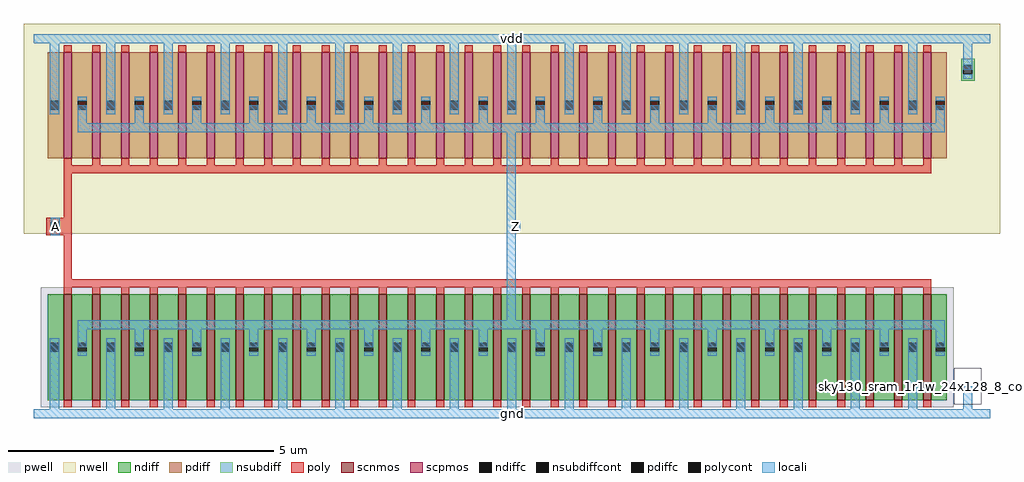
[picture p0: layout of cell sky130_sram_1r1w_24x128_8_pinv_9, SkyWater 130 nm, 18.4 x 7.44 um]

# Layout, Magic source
magic
tech sky130B
magscale 1 2
<< nwell >>
rect -36 679 3644 1471
<< poly >>
rect 114 740 144 907
rect 81 674 144 740
rect 114 507 144 674
<< locali >>
rect 0 1397 3608 1431
rect 62 1130 96 1397
rect 274 1130 308 1397
rect 490 1130 524 1397
rect 706 1130 740 1397
rect 922 1130 956 1397
rect 1138 1130 1172 1397
rect 1354 1130 1388 1397
rect 1570 1130 1604 1397
rect 1786 1130 1820 1397
rect 2002 1130 2036 1397
rect 2218 1130 2252 1397
rect 2434 1130 2468 1397
rect 2650 1130 2684 1397
rect 2866 1130 2900 1397
rect 3082 1130 3116 1397
rect 3298 1130 3332 1397
rect 3506 1297 3540 1397
rect 64 674 98 740
rect 1784 724 1818 1096
rect 1784 690 1835 724
rect 1784 318 1818 690
rect 62 17 96 218
rect 274 17 308 218
rect 490 17 524 218
rect 706 17 740 218
rect 922 17 956 218
rect 1138 17 1172 218
rect 1354 17 1388 218
rect 1570 17 1604 218
rect 1786 17 1820 218
rect 2002 17 2036 218
rect 2218 17 2252 218
rect 2434 17 2468 218
rect 2650 17 2684 218
rect 2866 17 2900 218
rect 3082 17 3116 218
rect 3298 17 3332 218
rect 3506 17 3540 104
rect 0 -17 3608 17
use sky130_sram_1r1w_24x128_8_contact_15  sky130_sram_1r1w_24x128_8_contact_15_0
transform 1 0 48 0 1 674
box 0 0 66 66
use sky130_sram_1r1w_24x128_8_contact_28  sky130_sram_1r1w_24x128_8_contact_28_0
transform 1 0 3498 0 1 1256
box -59 -43 109 125
use sky130_sram_1r1w_24x128_8_contact_29  sky130_sram_1r1w_24x128_8_contact_29_0
transform 1 0 3498 0 1 63
box -26 -26 76 108
use sky130_sram_1r1w_24x128_8_nmos_m31_w2_000_sli_dli_da_p  sky130_sram_1r1w_24x128_8_nmos_m31_w2_000_sli_dli_da_p_0
transform 1 0 54 0 1 51
box -26 -26 3416 456
use sky130_sram_1r1w_24x128_8_pmos_m31_w2_000_sli_dli_da_p  sky130_sram_1r1w_24x128_8_pmos_m31_w2_000_sli_dli_da_p_0
transform 1 0 54 0 1 963
box -59 -56 3449 454
<< labels >>
rlabel locali s 81 707 81 707 4 A
port 1 nsew
rlabel locali s 1818 707 1818 707 4 Z
port 2 nsew
rlabel locali s 1804 0 1804 0 4 gnd
port 3 nsew
rlabel locali s 1804 1414 1804 1414 4 vdd
port 4 nsew
<< properties >>
string FIXED_BBOX 0 0 3608 1414
<< end >>

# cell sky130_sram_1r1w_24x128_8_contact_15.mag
magic
tech sky130B
<< poly >>
rect 0 25 33 33
rect 0 8 8 25
rect 25 8 33 25
rect 0 0 33 8
<< polycont >>
rect 8 8 25 25
<< locali >>
rect 8 25 25 33
rect 8 0 25 8
<< properties >>
string FIXED_BBOX -10 -10 43 43
<< end >>

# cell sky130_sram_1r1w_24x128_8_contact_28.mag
magic
tech sky130B
magscale 1 2
<< nwell >>
rect -59 -43 109 125
<< nsubdiff >>
rect 0 58 50 82
rect 0 24 8 58
rect 42 24 50 58
rect 0 0 50 24
<< nsubdiffcont >>
rect 8 24 42 58
<< locali >>
rect 8 58 42 74
rect 8 8 42 24
<< properties >>
string FIXED_BBOX -59 -43 109 125
<< end >>

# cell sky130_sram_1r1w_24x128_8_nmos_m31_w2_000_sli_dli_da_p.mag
magic
tech sky130B
magscale 1 2
<< pwell >>
rect -26 -26 3416 426
<< scnmos >>
rect 60 0 90 400
rect 168 0 198 400
rect 276 0 306 400
rect 384 0 414 400
rect 492 0 522 400
rect 600 0 630 400
rect 708 0 738 400
rect 816 0 846 400
rect 924 0 954 400
rect 1032 0 1062 400
rect 1140 0 1170 400
rect 1248 0 1278 400
rect 1356 0 1386 400
rect 1464 0 1494 400
rect 1572 0 1602 400
rect 1680 0 1710 400
rect 1788 0 1818 400
rect 1896 0 1926 400
rect 2004 0 2034 400
rect 2112 0 2142 400
rect 2220 0 2250 400
rect 2328 0 2358 400
rect 2436 0 2466 400
rect 2544 0 2574 400
rect 2652 0 2682 400
rect 2760 0 2790 400
rect 2868 0 2898 400
rect 2976 0 3006 400
rect 3084 0 3114 400
rect 3192 0 3222 400
rect 3300 0 3330 400
<< ndiff >>
rect 0 0 60 400
rect 90 0 168 400
rect 198 0 276 400
rect 306 0 384 400
rect 414 0 492 400
rect 522 0 600 400
rect 630 0 708 400
rect 738 0 816 400
rect 846 0 924 400
rect 954 0 1032 400
rect 1062 0 1140 400
rect 1170 0 1248 400
rect 1278 0 1356 400
rect 1386 0 1464 400
rect 1494 0 1572 400
rect 1602 0 1680 400
rect 1710 0 1788 400
rect 1818 0 1896 400
rect 1926 0 2004 400
rect 2034 0 2112 400
rect 2142 0 2220 400
rect 2250 0 2328 400
rect 2358 0 2436 400
rect 2466 0 2544 400
rect 2574 0 2652 400
rect 2682 0 2760 400
rect 2790 0 2868 400
rect 2898 0 2976 400
rect 3006 0 3084 400
rect 3114 0 3192 400
rect 3222 0 3300 400
rect 3330 0 3390 400
<< poly >>
rect 60 426 3330 456
rect 60 400 90 426
rect 168 400 198 426
rect 276 400 306 426
rect 384 400 414 426
rect 492 400 522 426
rect 600 400 630 426
rect 708 400 738 426
rect 816 400 846 426
rect 924 400 954 426
rect 1032 400 1062 426
rect 1140 400 1170 426
rect 1248 400 1278 426
rect 1356 400 1386 426
rect 1464 400 1494 426
rect 1572 400 1602 426
rect 1680 400 1710 426
rect 1788 400 1818 426
rect 1896 400 1926 426
rect 2004 400 2034 426
rect 2112 400 2142 426
rect 2220 400 2250 426
rect 2328 400 2358 426
rect 2436 400 2466 426
rect 2544 400 2574 426
rect 2652 400 2682 426
rect 2760 400 2790 426
rect 2868 400 2898 426
rect 2976 400 3006 426
rect 3084 400 3114 426
rect 3192 400 3222 426
rect 3300 400 3330 426
rect 60 -26 90 0
rect 168 -26 198 0
rect 276 -26 306 0
rect 384 -26 414 0
rect 492 -26 522 0
rect 600 -26 630 0
rect 708 -26 738 0
rect 816 -26 846 0
rect 924 -26 954 0
rect 1032 -26 1062 0
rect 1140 -26 1170 0
rect 1248 -26 1278 0
rect 1356 -26 1386 0
rect 1464 -26 1494 0
rect 1572 -26 1602 0
rect 1680 -26 1710 0
rect 1788 -26 1818 0
rect 1896 -26 1926 0
rect 2004 -26 2034 0
rect 2112 -26 2142 0
rect 2220 -26 2250 0
rect 2328 -26 2358 0
rect 2436 -26 2466 0
rect 2544 -26 2574 0
rect 2652 -26 2682 0
rect 2760 -26 2790 0
rect 2868 -26 2898 0
rect 2976 -26 3006 0
rect 3084 -26 3114 0
rect 3192 -26 3222 0
rect 3300 -26 3330 0
<< locali >>
rect 112 267 3382 301
rect 8 167 42 233
rect 112 200 146 267
rect 220 167 254 233
rect 328 200 362 267
rect 436 167 470 233
rect 544 200 578 267
rect 652 167 686 233
rect 760 200 794 267
rect 868 167 902 233
rect 976 200 1010 267
rect 1084 167 1118 233
rect 1192 200 1226 267
rect 1300 167 1334 233
rect 1408 200 1442 267
rect 1516 167 1550 233
rect 1624 200 1658 267
rect 1732 167 1766 233
rect 1840 200 1874 267
rect 1948 167 1982 233
rect 2056 200 2090 267
rect 2164 167 2198 233
rect 2272 200 2306 267
rect 2380 167 2414 233
rect 2488 200 2522 267
rect 2596 167 2630 233
rect 2704 200 2738 267
rect 2812 167 2846 233
rect 2920 200 2954 267
rect 3028 167 3062 233
rect 3136 200 3170 267
rect 3244 167 3278 233
rect 3348 200 3382 267
use sky130_sram_1r1w_24x128_8_contact_10  sky130_sram_1r1w_24x128_8_contact_10_0
transform 1 0 3340 0 1 167
box -26 -22 76 88
use sky130_sram_1r1w_24x128_8_contact_10  sky130_sram_1r1w_24x128_8_contact_10_1
transform 1 0 3236 0 1 167
box -26 -22 76 88
use sky130_sram_1r1w_24x128_8_contact_10  sky130_sram_1r1w_24x128_8_contact_10_2
transform 1 0 3128 0 1 167
box -26 -22 76 88
use sky130_sram_1r1w_24x128_8_contact_10  sky130_sram_1r1w_24x128_8_contact_10_3
transform 1 0 3020 0 1 167
box -26 -22 76 88
use sky130_sram_1r1w_24x128_8_contact_10  sky130_sram_1r1w_24x128_8_contact_10_4
transform 1 0 2912 0 1 167
box -26 -22 76 88
use sky130_sram_1r1w_24x128_8_contact_10  sky130_sram_1r1w_24x128_8_contact_10_5
transform 1 0 2804 0 1 167
box -26 -22 76 88
use sky130_sram_1r1w_24x128_8_contact_10  sky130_sram_1r1w_24x128_8_contact_10_6
transform 1 0 2696 0 1 167
box -26 -22 76 88
use sky130_sram_1r1w_24x128_8_contact_10  sky130_sram_1r1w_24x128_8_contact_10_7
transform 1 0 2588 0 1 167
box -26 -22 76 88
use sky130_sram_1r1w_24x128_8_contact_10  sky130_sram_1r1w_24x128_8_contact_10_8
transform 1 0 2480 0 1 167
box -26 -22 76 88
use sky130_sram_1r1w_24x128_8_contact_10  sky130_sram_1r1w_24x128_8_contact_10_9
transform 1 0 2372 0 1 167
box -26 -22 76 88
use sky130_sram_1r1w_24x128_8_contact_10  sky130_sram_1r1w_24x128_8_contact_10_10
transform 1 0 2264 0 1 167
box -26 -22 76 88
use sky130_sram_1r1w_24x128_8_contact_10  sky130_sram_1r1w_24x128_8_contact_10_11
transform 1 0 2156 0 1 167
box -26 -22 76 88
use sky130_sram_1r1w_24x128_8_contact_10  sky130_sram_1r1w_24x128_8_contact_10_12
transform 1 0 2048 0 1 167
box -26 -22 76 88
use sky130_sram_1r1w_24x128_8_contact_10  sky130_sram_1r1w_24x128_8_contact_10_13
transform 1 0 1940 0 1 167
box -26 -22 76 88
use sky130_sram_1r1w_24x128_8_contact_10  sky130_sram_1r1w_24x128_8_contact_10_14
transform 1 0 1832 0 1 167
box -26 -22 76 88
use sky130_sram_1r1w_24x128_8_contact_10  sky130_sram_1r1w_24x128_8_contact_10_15
transform 1 0 1724 0 1 167
box -26 -22 76 88
use sky130_sram_1r1w_24x128_8_contact_10  sky130_sram_1r1w_24x128_8_contact_10_16
transform 1 0 1616 0 1 167
box -26 -22 76 88
use sky130_sram_1r1w_24x128_8_contact_10  sky130_sram_1r1w_24x128_8_contact_10_17
transform 1 0 1508 0 1 167
box -26 -22 76 88
use sky130_sram_1r1w_24x128_8_contact_10  sky130_sram_1r1w_24x128_8_contact_10_18
transform 1 0 1400 0 1 167
box -26 -22 76 88
use sky130_sram_1r1w_24x128_8_contact_10  sky130_sram_1r1w_24x128_8_contact_10_19
transform 1 0 1292 0 1 167
box -26 -22 76 88
use sky130_sram_1r1w_24x128_8_contact_10  sky130_sram_1r1w_24x128_8_contact_10_20
transform 1 0 1184 0 1 167
box -26 -22 76 88
use sky130_sram_1r1w_24x128_8_contact_10  sky130_sram_1r1w_24x128_8_contact_10_21
transform 1 0 1076 0 1 167
box -26 -22 76 88
use sky130_sram_1r1w_24x128_8_contact_10  sky130_sram_1r1w_24x128_8_contact_10_22
transform 1 0 968 0 1 167
box -26 -22 76 88
use sky130_sram_1r1w_24x128_8_contact_10  sky130_sram_1r1w_24x128_8_contact_10_23
transform 1 0 860 0 1 167
box -26 -22 76 88
use sky130_sram_1r1w_24x128_8_contact_10  sky130_sram_1r1w_24x128_8_contact_10_24
transform 1 0 752 0 1 167
box -26 -22 76 88
use sky130_sram_1r1w_24x128_8_contact_10  sky130_sram_1r1w_24x128_8_contact_10_25
transform 1 0 644 0 1 167
box -26 -22 76 88
use sky130_sram_1r1w_24x128_8_contact_10  sky130_sram_1r1w_24x128_8_contact_10_26
transform 1 0 536 0 1 167
box -26 -22 76 88
use sky130_sram_1r1w_24x128_8_contact_10  sky130_sram_1r1w_24x128_8_contact_10_27
transform 1 0 428 0 1 167
box -26 -22 76 88
use sky130_sram_1r1w_24x128_8_contact_10  sky130_sram_1r1w_24x128_8_contact_10_28
transform 1 0 320 0 1 167
box -26 -22 76 88
use sky130_sram_1r1w_24x128_8_contact_10  sky130_sram_1r1w_24x128_8_contact_10_29
transform 1 0 212 0 1 167
box -26 -22 76 88
use sky130_sram_1r1w_24x128_8_contact_10  sky130_sram_1r1w_24x128_8_contact_10_30
transform 1 0 104 0 1 167
box -26 -22 76 88
use sky130_sram_1r1w_24x128_8_contact_10  sky130_sram_1r1w_24x128_8_contact_10_31
transform 1 0 0 0 1 167
box -26 -22 76 88
<< labels >>
rlabel poly s 1695 441 1695 441 4 G
port 1 nsew
rlabel locali s 885 200 885 200 4 S
port 2 nsew
rlabel locali s 2397 200 2397 200 4 S
port 2 nsew
rlabel locali s 237 200 237 200 4 S
port 2 nsew
rlabel locali s 3045 200 3045 200 4 S
port 2 nsew
rlabel locali s 1317 200 1317 200 4 S
port 2 nsew
rlabel locali s 1533 200 1533 200 4 S
port 2 nsew
rlabel locali s 2829 200 2829 200 4 S
port 2 nsew
rlabel locali s 1749 200 1749 200 4 S
port 2 nsew
rlabel locali s 669 200 669 200 4 S
port 2 nsew
rlabel locali s 2613 200 2613 200 4 S
port 2 nsew
rlabel locali s 2181 200 2181 200 4 S
port 2 nsew
rlabel locali s 3261 200 3261 200 4 S
port 2 nsew
rlabel locali s 1965 200 1965 200 4 S
port 2 nsew
rlabel locali s 1101 200 1101 200 4 S
port 2 nsew
rlabel locali s 25 200 25 200 4 S
port 2 nsew
rlabel locali s 453 200 453 200 4 S
port 2 nsew
rlabel locali s 1747 284 1747 284 4 D
port 3 nsew
<< properties >>
string FIXED_BBOX -25 -26 3415 456
<< end >>

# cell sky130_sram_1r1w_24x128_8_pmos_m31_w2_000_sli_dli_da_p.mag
magic
tech sky130B
magscale 1 2
<< nwell >>
rect -54 -54 3444 454
<< scpmos >>
rect 60 0 90 400
rect 168 0 198 400
rect 276 0 306 400
rect 384 0 414 400
rect 492 0 522 400
rect 600 0 630 400
rect 708 0 738 400
rect 816 0 846 400
rect 924 0 954 400
rect 1032 0 1062 400
rect 1140 0 1170 400
rect 1248 0 1278 400
rect 1356 0 1386 400
rect 1464 0 1494 400
rect 1572 0 1602 400
rect 1680 0 1710 400
rect 1788 0 1818 400
rect 1896 0 1926 400
rect 2004 0 2034 400
rect 2112 0 2142 400
rect 2220 0 2250 400
rect 2328 0 2358 400
rect 2436 0 2466 400
rect 2544 0 2574 400
rect 2652 0 2682 400
rect 2760 0 2790 400
rect 2868 0 2898 400
rect 2976 0 3006 400
rect 3084 0 3114 400
rect 3192 0 3222 400
rect 3300 0 3330 400
<< pdiff >>
rect 0 0 60 400
rect 90 0 168 400
rect 198 0 276 400
rect 306 0 384 400
rect 414 0 492 400
rect 522 0 600 400
rect 630 0 708 400
rect 738 0 816 400
rect 846 0 924 400
rect 954 0 1032 400
rect 1062 0 1140 400
rect 1170 0 1248 400
rect 1278 0 1356 400
rect 1386 0 1464 400
rect 1494 0 1572 400
rect 1602 0 1680 400
rect 1710 0 1788 400
rect 1818 0 1896 400
rect 1926 0 2004 400
rect 2034 0 2112 400
rect 2142 0 2220 400
rect 2250 0 2328 400
rect 2358 0 2436 400
rect 2466 0 2544 400
rect 2574 0 2652 400
rect 2682 0 2760 400
rect 2790 0 2868 400
rect 2898 0 2976 400
rect 3006 0 3084 400
rect 3114 0 3192 400
rect 3222 0 3300 400
rect 3330 0 3390 400
<< poly >>
rect 60 400 90 426
rect 168 400 198 426
rect 276 400 306 426
rect 384 400 414 426
rect 492 400 522 426
rect 600 400 630 426
rect 708 400 738 426
rect 816 400 846 426
rect 924 400 954 426
rect 1032 400 1062 426
rect 1140 400 1170 426
rect 1248 400 1278 426
rect 1356 400 1386 426
rect 1464 400 1494 426
rect 1572 400 1602 426
rect 1680 400 1710 426
rect 1788 400 1818 426
rect 1896 400 1926 426
rect 2004 400 2034 426
rect 2112 400 2142 426
rect 2220 400 2250 426
rect 2328 400 2358 426
rect 2436 400 2466 426
rect 2544 400 2574 426
rect 2652 400 2682 426
rect 2760 400 2790 426
rect 2868 400 2898 426
rect 2976 400 3006 426
rect 3084 400 3114 426
rect 3192 400 3222 426
rect 3300 400 3330 426
rect 60 -26 90 0
rect 168 -26 198 0
rect 276 -26 306 0
rect 384 -26 414 0
rect 492 -26 522 0
rect 600 -26 630 0
rect 708 -26 738 0
rect 816 -26 846 0
rect 924 -26 954 0
rect 1032 -26 1062 0
rect 1140 -26 1170 0
rect 1248 -26 1278 0
rect 1356 -26 1386 0
rect 1464 -26 1494 0
rect 1572 -26 1602 0
rect 1680 -26 1710 0
rect 1788 -26 1818 0
rect 1896 -26 1926 0
rect 2004 -26 2034 0
rect 2112 -26 2142 0
rect 2220 -26 2250 0
rect 2328 -26 2358 0
rect 2436 -26 2466 0
rect 2544 -26 2574 0
rect 2652 -26 2682 0
rect 2760 -26 2790 0
rect 2868 -26 2898 0
rect 2976 -26 3006 0
rect 3084 -26 3114 0
rect 3192 -26 3222 0
rect 3300 -26 3330 0
rect 60 -56 3330 -26
<< locali >>
rect 8 167 42 233
rect 112 133 146 200
rect 220 167 254 233
rect 328 133 362 200
rect 436 167 470 233
rect 544 133 578 200
rect 652 167 686 233
rect 760 133 794 200
rect 868 167 902 233
rect 976 133 1010 200
rect 1084 167 1118 233
rect 1192 133 1226 200
rect 1300 167 1334 233
rect 1408 133 1442 200
rect 1516 167 1550 233
rect 1624 133 1658 200
rect 1732 167 1766 233
rect 1840 133 1874 200
rect 1948 167 1982 233
rect 2056 133 2090 200
rect 2164 167 2198 233
rect 2272 133 2306 200
rect 2380 167 2414 233
rect 2488 133 2522 200
rect 2596 167 2630 233
rect 2704 133 2738 200
rect 2812 167 2846 233
rect 2920 133 2954 200
rect 3028 167 3062 233
rect 3136 133 3170 200
rect 3244 167 3278 233
rect 3348 133 3382 200
rect 112 99 3382 133
use sky130_sram_1r1w_24x128_8_contact_11  sky130_sram_1r1w_24x128_8_contact_11_0
transform 1 0 3340 0 1 167
box -59 -51 109 117
use sky130_sram_1r1w_24x128_8_contact_11  sky130_sram_1r1w_24x128_8_contact_11_1
transform 1 0 3236 0 1 167
box -59 -51 109 117
use sky130_sram_1r1w_24x128_8_contact_11  sky130_sram_1r1w_24x128_8_contact_11_2
transform 1 0 3128 0 1 167
box -59 -51 109 117
use sky130_sram_1r1w_24x128_8_contact_11  sky130_sram_1r1w_24x128_8_contact_11_3
transform 1 0 3020 0 1 167
box -59 -51 109 117
use sky130_sram_1r1w_24x128_8_contact_11  sky130_sram_1r1w_24x128_8_contact_11_4
transform 1 0 2912 0 1 167
box -59 -51 109 117
use sky130_sram_1r1w_24x128_8_contact_11  sky130_sram_1r1w_24x128_8_contact_11_5
transform 1 0 2804 0 1 167
box -59 -51 109 117
use sky130_sram_1r1w_24x128_8_contact_11  sky130_sram_1r1w_24x128_8_contact_11_6
transform 1 0 2696 0 1 167
box -59 -51 109 117
use sky130_sram_1r1w_24x128_8_contact_11  sky130_sram_1r1w_24x128_8_contact_11_7
transform 1 0 2588 0 1 167
box -59 -51 109 117
use sky130_sram_1r1w_24x128_8_contact_11  sky130_sram_1r1w_24x128_8_contact_11_8
transform 1 0 2480 0 1 167
box -59 -51 109 117
use sky130_sram_1r1w_24x128_8_contact_11  sky130_sram_1r1w_24x128_8_contact_11_9
transform 1 0 2372 0 1 167
box -59 -51 109 117
use sky130_sram_1r1w_24x128_8_contact_11  sky130_sram_1r1w_24x128_8_contact_11_10
transform 1 0 2264 0 1 167
box -59 -51 109 117
use sky130_sram_1r1w_24x128_8_contact_11  sky130_sram_1r1w_24x128_8_contact_11_11
transform 1 0 2156 0 1 167
box -59 -51 109 117
use sky130_sram_1r1w_24x128_8_contact_11  sky130_sram_1r1w_24x128_8_contact_11_12
transform 1 0 2048 0 1 167
box -59 -51 109 117
use sky130_sram_1r1w_24x128_8_contact_11  sky130_sram_1r1w_24x128_8_contact_11_13
transform 1 0 1940 0 1 167
box -59 -51 109 117
use sky130_sram_1r1w_24x128_8_contact_11  sky130_sram_1r1w_24x128_8_contact_11_14
transform 1 0 1832 0 1 167
box -59 -51 109 117
use sky130_sram_1r1w_24x128_8_contact_11  sky130_sram_1r1w_24x128_8_contact_11_15
transform 1 0 1724 0 1 167
box -59 -51 109 117
use sky130_sram_1r1w_24x128_8_contact_11  sky130_sram_1r1w_24x128_8_contact_11_16
transform 1 0 1616 0 1 167
box -59 -51 109 117
use sky130_sram_1r1w_24x128_8_contact_11  sky130_sram_1r1w_24x128_8_contact_11_17
transform 1 0 1508 0 1 167
box -59 -51 109 117
use sky130_sram_1r1w_24x128_8_contact_11  sky130_sram_1r1w_24x128_8_contact_11_18
transform 1 0 1400 0 1 167
box -59 -51 109 117
use sky130_sram_1r1w_24x128_8_contact_11  sky130_sram_1r1w_24x128_8_contact_11_19
transform 1 0 1292 0 1 167
box -59 -51 109 117
use sky130_sram_1r1w_24x128_8_contact_11  sky130_sram_1r1w_24x128_8_contact_11_20
transform 1 0 1184 0 1 167
box -59 -51 109 117
use sky130_sram_1r1w_24x128_8_contact_11  sky130_sram_1r1w_24x128_8_contact_11_21
transform 1 0 1076 0 1 167
box -59 -51 109 117
use sky130_sram_1r1w_24x128_8_contact_11  sky130_sram_1r1w_24x128_8_contact_11_22
transform 1 0 968 0 1 167
box -59 -51 109 117
use sky130_sram_1r1w_24x128_8_contact_11  sky130_sram_1r1w_24x128_8_contact_11_23
transform 1 0 860 0 1 167
box -59 -51 109 117
use sky130_sram_1r1w_24x128_8_contact_11  sky130_sram_1r1w_24x128_8_contact_11_24
transform 1 0 752 0 1 167
box -59 -51 109 117
use sky130_sram_1r1w_24x128_8_contact_11  sky130_sram_1r1w_24x128_8_contact_11_25
transform 1 0 644 0 1 167
box -59 -51 109 117
use sky130_sram_1r1w_24x128_8_contact_11  sky130_sram_1r1w_24x128_8_contact_11_26
transform 1 0 536 0 1 167
box -59 -51 109 117
use sky130_sram_1r1w_24x128_8_contact_11  sky130_sram_1r1w_24x128_8_contact_11_27
transform 1 0 428 0 1 167
box -59 -51 109 117
use sky130_sram_1r1w_24x128_8_contact_11  sky130_sram_1r1w_24x128_8_contact_11_28
transform 1 0 320 0 1 167
box -59 -51 109 117
use sky130_sram_1r1w_24x128_8_contact_11  sky130_sram_1r1w_24x128_8_contact_11_29
transform 1 0 212 0 1 167
box -59 -51 109 117
use sky130_sram_1r1w_24x128_8_contact_11  sky130_sram_1r1w_24x128_8_contact_11_30
transform 1 0 104 0 1 167
box -59 -51 109 117
use sky130_sram_1r1w_24x128_8_contact_11  sky130_sram_1r1w_24x128_8_contact_11_31
transform 1 0 0 0 1 167
box -59 -51 109 117
<< labels >>
rlabel poly s 1695 -41 1695 -41 4 G
port 1 nsew
rlabel locali s 885 200 885 200 4 S
port 2 nsew
rlabel locali s 2397 200 2397 200 4 S
port 2 nsew
rlabel locali s 237 200 237 200 4 S
port 2 nsew
rlabel locali s 3045 200 3045 200 4 S
port 2 nsew
rlabel locali s 1317 200 1317 200 4 S
port 2 nsew
rlabel locali s 1533 200 1533 200 4 S
port 2 nsew
rlabel locali s 2829 200 2829 200 4 S
port 2 nsew
rlabel locali s 1749 200 1749 200 4 S
port 2 nsew
rlabel locali s 669 200 669 200 4 S
port 2 nsew
rlabel locali s 2613 200 2613 200 4 S
port 2 nsew
rlabel locali s 2181 200 2181 200 4 S
port 2 nsew
rlabel locali s 3261 200 3261 200 4 S
port 2 nsew
rlabel locali s 1965 200 1965 200 4 S
port 2 nsew
rlabel locali s 1101 200 1101 200 4 S
port 2 nsew
rlabel locali s 25 200 25 200 4 S
port 2 nsew
rlabel locali s 453 200 453 200 4 S
port 2 nsew
rlabel locali s 1747 116 1747 116 4 D
port 3 nsew
<< properties >>
string FIXED_BBOX -54 -56 3444 454
<< end >>

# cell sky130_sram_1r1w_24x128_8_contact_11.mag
magic
tech sky130B
magscale 1 2
<< nwell >>
rect -59 -51 109 117
<< pdiff >>
rect 0 50 50 62
rect 0 16 8 50
rect 42 16 50 50
rect 0 4 50 16
<< pdiffc >>
rect 8 16 42 50
<< locali >>
rect 8 50 42 66
rect 8 0 42 16
<< properties >>
string FIXED_BBOX -59 -51 109 117
<< end >>

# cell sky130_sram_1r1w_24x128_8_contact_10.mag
magic
tech sky130B
<< pwell >>
rect -13 -11 38 44
<< ndiff >>
rect 0 25 25 31
rect 0 8 4 25
rect 21 8 25 25
rect 0 2 25 8
<< ndiffc >>
rect 4 8 21 25
<< locali >>
rect 4 25 21 33
rect 4 0 21 8
<< properties >>
string FIXED_BBOX -12 -10 37 43
<< end >>
